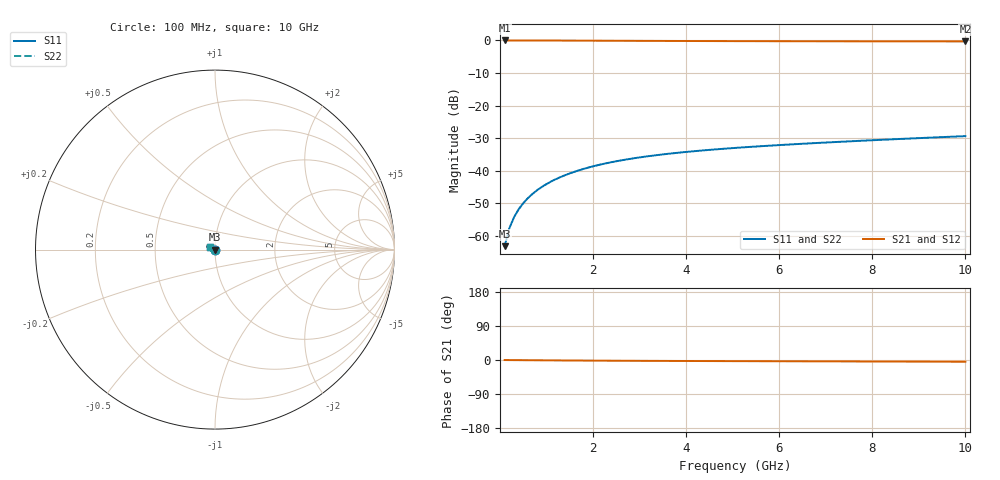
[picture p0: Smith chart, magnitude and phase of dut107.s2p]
! Touchstone file exported from HFSS 2024.1.0
!  File:  C:/UserFiles/LocalFiles/RDL_TSV_Batchsim/temp_TSV1_107_1779377535.aedt
!  Generated:  11:37:57 PM May 21, 2026
!  Design:  TSV1
!  Project:  temp_TSV1_107_1779377535
!  Setup:  Setup1
!  Solution:  Sweep
! Variables:
!  dtsv = 6.7um
!  hbump = 3um
!  htsv = 67.09um
!  lrdl = 252.1521522um
!  p = 40
!  p1 = 49.54um
!  t = 500um
!  trdl = 3um
!  wrdl = 24.89489489um
# GHz S MA R 50.000000
! Terminal data exported
! Port[1] = TSV22_T1
! Port[2] = TSV22_T2
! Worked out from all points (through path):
!   100 points, 100 MHz to 10 GHz, reference 50 ohm
!   highest |S21| = 0.00 dB at 100 MHz (marker M1); lowest = -0.3 dB at 10 GHz (marker M2)
!   lowest |S11| = -63.1 dB at 100 MHz (marker M3), VSWR 1.00, Z = 50 - j0.0647 ohm
!   |S11| at or under -10 dB: start of sweep to end of sweep
!   |S22| runs from -63.1 to -29.4 dB; largest |S21 - S12| = 3.4e-15
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0.1  0.0006979 -67.9  0.9997 -0.1  0.9997 -0.1  0.0006979 -67.9
! Gamma 0 0 0 0
! Port Impedance 50 0 50 0
0.2  0.001304 -81.7  0.9996 -0.2  0.9996 -0.2  0.001304 -81.7
0.3  0.001928 -88.0  0.9995 -0.3  0.9995 -0.3  0.001928 -88.0
0.4  0.002556 -92.3  0.9993 -0.4  0.9993 -0.4  0.002556 -92.3
0.5  0.003184 -95.7  0.9991 -0.5  0.9991 -0.5  0.003184 -95.7
0.6  0.00381 -98.7  0.9988 -0.6  0.9988 -0.6  0.00381 -98.7
0.7  0.004431 -101.4  0.9985 -0.6  0.9985 -0.6  0.004431 -101.4
0.8  0.005047 -103.9  0.9981 -0.7  0.9981 -0.7  0.005047 -103.9
0.9  0.005657 -106.3  0.9977 -0.8  0.9977 -0.8  0.005657 -106.3
1.1  0.006851 -110.8  0.9969 -1.0  0.9969 -1.0  0.006851 -110.8
1.4  0.008572 -117.1  0.9954 -1.2  0.9954 -1.2  0.008572 -117.1
1.6  0.009665 -121.1  0.9943 -1.4  0.9943 -1.4  0.009665 -121.1
1.8  0.01071 -124.9  0.9931 -1.5  0.9931 -1.5  0.01071 -124.9
2.1  0.0122 -130.4  0.9913 -1.7  0.9913 -1.7  0.0122 -130.4
2.5  0.01401 -137.2  0.9889 -1.9  0.9889 -1.9  0.01401 -137.2
2.9  0.01566 -143.6  0.9865 -2.1  0.9865 -2.1  0.01566 -143.6
3.4  0.01751 -150.9  0.9837 -2.4  0.9837 -2.4  0.01751 -150.9
4.2  0.02007 -161.4  0.9798 -2.7  0.9798 -2.7  0.02007 -161.4
5.1  0.02257 -171.5  0.9762 -3.0  0.9762 -3.0  0.02257 -171.5
6.7  0.02646 173.9  0.9716 -3.5  0.9716 -3.5  0.02646 173.9
8.4  0.03035 161.8  0.9683 -4.1  0.9683 -4.1  0.03035 161.8
10  0.03405 152.6  0.9661 -4.6  0.9661 -4.6  0.03405 152.6
